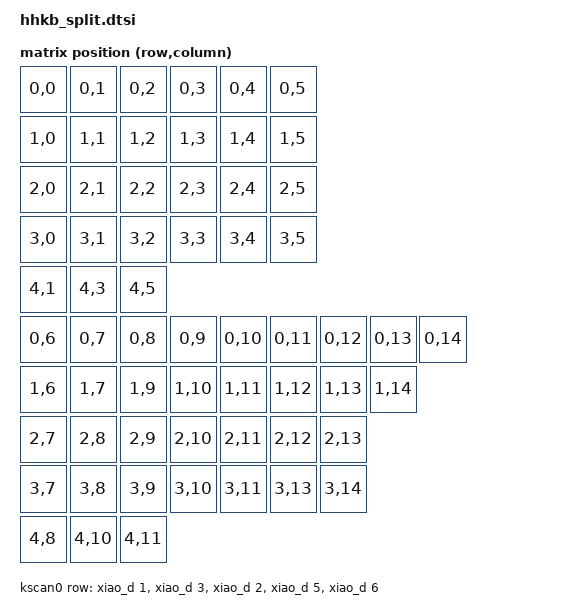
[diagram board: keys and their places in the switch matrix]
/*
 * 左右で共通の土台。
 *
 * キースキャンは「ごく普通の行×列マトリクス＋キーごとにダイオード1個」。
 * 列を駆動するピンが足りないぶんはシフトレジスタ 595（SN74LVC595A）で作る。
 * ZMK 公式が「標準マトリクスでピンが足りない場合の推奨手段」としている方式。
 *   https://zmk.dev/docs/development/hardware-integration/shift-registers
 *
 * 【重要】当初はチャープレックス（zmk,kscan-gpio-charlieplex）で設計していたが、
 * 基板発注前に破棄した。理由は docs/hardware/decisions/2026-08-07-keyscan.md。
 * 要点だけ書くと、nRF52840 の 3.3V ではダイオードの電圧降下だけで
 * ゴースト（2キー同時押しで押していないキーが誤検出される現象）を消せない。
 * 入力の閾値が VDD の 0.7 倍と 0.3 倍なので、
 *   本物のキー（ダイオード1個）を HIGH と読ませるには Vf <= 0.99V
 *   ゴースト（ダイオード2個）を LOW と読ませるには Vf >= 1.155V
 * となり両立しない。乾電池で VDD が下がるとさらに条件が動く。
 * Shift・Ctrl・Fn との同時押しは常用するので、この方式は採れない。
 *
 * ------------------------------------------------------------------
 * ピンの割り当て（XIAO nRF52840、使えるのは D0..D10 の 11 本）
 *
 *   D0        電池電圧の測定（ADC が使えるのは D0..D5 だけなので D0 を使う）
 *   D1        予備。**わざと空けている**（2026-08-14・#41）。D0 と行の間に
 *             1 ピンぶんの隙間を作ると、子基板の奥側が 2.54mm 空き、
 *             分圧抵抗の置き場所になる（利用者の指摘）
 *   D2..D6    行 0..4。MCU に直結した「入力」。**5 本とも左列**
 *   D7        シフトレジスタの CS（ラッチ）
 *   D8        SPI SCK   ─┐ xiao_spi (= spi2) が使う
 *   D9        予備（**元は SPI MISO**。board 定義のまま触らない）
 *   D10       SPI MOSI  ─┘
 *
 * **2026-08-14 に行を D1..D4+D9 から D2..D6 へ移した**（#41）。
 * 以前は ROW4 だけ右列の D9 にあり、MISO を pinctrl から外して GPIO に
 * 転用していた。理由は「左列のレーンが 6 本だとアンテナの真下を 2 本が
 * 通る」（#23）。**その 6 本目は VBATT_SENSE だった。**分圧を子基板へ
 * 移して FFC を渡らなくなったので、行 5 本を左列に戻しても 5 本のまま。
 * → **MISO の上書きが不要になり、削除した**（下の注記）。
 *
 * ZMK の公式サンプルは CS に D9（MISO）を充てているが、xiao_ble の pinctrl は
 * P1.14 を MISO として確保している（zephyr の xiao_ble-pinctrl.dtsi）。
 * 競合を避けるため、こちらは D7 を CS にした。
 *
 * ------------------------------------------------------------------
 * 行と列は物理配列そのまま。5 段 × 左 6 列 / 右 9 列。
 *
 * 右半分の最上段は 9 キーあるので 9 列必要。595 は 8 出力なので
 * **右は 2 個を数珠つなぎ**にする（ngpios = 16、うち 9 本を使う）。
 *
 * 当初は ` 1 つを最下段の空き（row4, col3）へ回して 8 列に収め、595 を
 * 1 個で済ませていた。だが基板を起こしたところ、物理的には最上段にある
 * キーが論理的に最下段になるため、**90mm の配線が 4 段ぶんのスイッチを
 * 横切る**羽目になった。DRC が交差と短絡として検出した。
 * 部品を 1 個（30 円）足す方が、配線の素直さに見合う。
 */
#include <dt-bindings/zmk/matrix_transform.h>

/ {
	chosen {
		zmk,kscan = &kscan0;
		zmk,matrix-transform = &default_transform;
	};

	/*
	 * 左右で「1 つの」transform を共有する。これが ZMK の分割の標準的な書き方で、
	 * 右半分は overlay で col-offset = <6> を足して、この表の右側へ写す。
	 *
	 * 当初は左右で別々の transform を定義していたが、これは非標準で、
	 * 右半分のキー位置がずれる恐れがあった。corne など公式シールドの
	 * 書き方に合わせて作り直した。
	 *
	 * 全体は 5 行 × 15 列。左が列 0..5、右が列 6..14
	 * （下の columns = <15> と、map の RC(0,14) が正）。
	 *
	 * 並び順はキーマップの 61 バインディングと一対一で対応する
	 * （左 27 を上段左から、続いて右 34 を上段左から）。
	 */
	default_transform: keymap_transform_0 {
		compatible = "zmk,matrix-transform";
		columns = <15>;
		rows = <5>;
		map = <
		/* --- 左 27 --- */
		/* Esc 1 2 3 4 5                      */ RC(0,0) RC(0,1) RC(0,2) RC(0,3) RC(0,4) RC(0,5)
		/* Tab Q W E R T                      */ RC(1,0) RC(1,1) RC(1,2) RC(1,3) RC(1,4) RC(1,5)
		/* Ctrl A S D F G                     */ RC(2,0) RC(2,1) RC(2,2) RC(2,3) RC(2,4) RC(2,5)
		/* Shift Z X C V B                    */ RC(3,0) RC(3,1) RC(3,2) RC(3,3) RC(3,4) RC(3,5)
		/* Alt Meta L-Space                   */ RC(4,1) RC(4,3) RC(4,5)

		/* --- 右 34 --- */
		/* 6 7 8 9 0 - = \ `                  */ RC(0,6) RC(0,7) RC(0,8) RC(0,9) RC(0,10) RC(0,11) RC(0,12) RC(0,13) RC(0,14)
		/* Y U I O P [ ] Del                  */ RC(1,6) RC(1,7) RC(1,9) RC(1,10) RC(1,11) RC(1,12) RC(1,13) RC(1,14)
		/* H J K L ; ' Enter                  */ RC(2,7) RC(2,8) RC(2,9) RC(2,10) RC(2,11) RC(2,12) RC(2,13)
		/* N M , . / Shift Fn                 */ RC(3,7) RC(3,8) RC(3,9) RC(3,10) RC(3,11) RC(3,13) RC(3,14)
		/* R-Space Meta Alt                   */ RC(4,8) RC(4,10) RC(4,11)
		>;
	};

	/*
	 * 行は MCU のピンに直結した入力にする。これは公式ドキュメントの指示で、
	 * 「入力を MCU 直結にしておくと割り込みで起こせる ＝ 常時スキャンせずに済み、
	 * 電池が持つ」ため。シフトレジスタは列（出力）側にだけ使う。
	 *
	 * col2row はダイオードのアノードが列側、カソードが行側という意味。
	 */
	kscan0: kscan_0 {
		compatible = "zmk,kscan-gpio-matrix";
		wakeup-source;
		diode-direction = "col2row";
		/*
		 * **並びは行 0..4 の順。ピン番号の順ではない**（2026-08-14・#41）。
		 *
		 *   行 0 → D2 / 行 1 → **D6** / 行 2 → **D3** / 行 3 → **D4** / 行 4 → **D5**
		 *
		 * **並びは利用者の指定**（2026-08-14）「D3 = ROW2 が最も外周側」。
		 * D3/D4/D5 を XIAO のパッド列の外側に通し、パッドから伸びる
		 * 水平線を **D3 が最長・D5 が最短**にする。
		 *
		 *   D3 = ROW2（最も外周）/ D4 = ROW3 / D5 = ROW4 / D6 = ROW1（内側）
		 *
		 * ⚠️ **これは長らく絵に描いた餅だった。**この並び自体は前から
		 * あったが、配線後の基板を実測すると列の外へ出ていたのは 2 本
		 * だけで、ROW3/ROW4 は x=-7.62（パッド）で止まり、内側にいる
		 * はずの ROW0 が外周を取っていた。**自動配線器はこの計画を
		 * 知らない。**`gen_daughterboard._prewire_rows` で自分で引く
		 * ようにして、ようやく実現した（実測 -10.10/-9.70/-9.30・
		 * 交差 0・折れ 3 回）。
		 *
		 * **FFC の並びは動かしていない。**主基板の行バスの都合で決まって
		 * いるので、XIAO 側だけ変えれば主基板は無傷（利用者の指摘）。
		 * 順序のズレは配線でひねらず**ここで吸収する。**
		 *
		 * ⚠️ **circuit.py の XIAO のピン割り当てと 1 対 1 で対応する。**
		 * 片方だけ直すと、押したキーと違う行が読まれる。
		 */
		row-gpios
			= <&xiao_d 1 (GPIO_ACTIVE_HIGH | GPIO_PULL_DOWN)>
			, <&xiao_d 3 (GPIO_ACTIVE_HIGH | GPIO_PULL_DOWN)>
			, <&xiao_d 2 (GPIO_ACTIVE_HIGH | GPIO_PULL_DOWN)>
			, <&xiao_d 5 (GPIO_ACTIVE_HIGH | GPIO_PULL_DOWN)>
			, <&xiao_d 6 (GPIO_ACTIVE_HIGH | GPIO_PULL_DOWN)>
			;
	};
};

/*
 * **`&spi2_default` の上書きは 2026-08-14 に削除した**（open-gaps #41）。
 *
 * ここには「D9（P1.14）を SPI の MISO から解放する」上書きがあった。
 * 行 4 を D9 に置いていたため、pinctrl から MISO を外して GPIO として
 * 使う必要があったから。
 *
 * **行が D2〜D6（左列）へ戻ったので、D9 を GPIO に転用しなくなった。**
 * 分圧を子基板へ移して VBATT_SENSE が FFC を渡らなくなり、左列のレーンが
 * 空いたのが理由（#41）。board 定義の pinctrl をそのまま使えばよい。
 */

/*
 * シフトレジスタ。SPI 経由で列を駆動する。
 * ngpios は 595 の出力本数。**ここの既定は左向けの 8**（左は 6 列なので
 * 1 個で足りる）。**右は overlay で 16 に上書きする**（9 列必要で、
 * 2 個を数珠つなぎ／hhkb_split_right.overlay）。
 */
&xiao_spi {
	status = "okay";
	cs-gpios = <&xiao_d 7 GPIO_ACTIVE_LOW>;

	shifter: 595@0 {
		compatible = "zmk,gpio-595";
		status = "okay";
		gpio-controller;
		/* 200kHz は保守的すぎた。**数珠つなぎの 595 は速い打鍵を
		 * 取りこぼす例が ZMK 公式に報告されている。**
		 * 595（SN74LVC595A）は 3.3V でも 20MHz 級まで動く。4MHz なら
		 * 16bit の転送が 4µs で終わり、スキャン周期に対して無視できる。
		 * Task C2-b で実測して詰める。 */
		spi-max-frequency = <4000000>;
		reg = <0>;
		#gpio-cells = <2>;
		ngpios = <8>;
	};
};

/ {
	/* 電池電圧の測定。分圧 1MΩ + 1MΩ を D0 (P0.02 = AIN0) で読む。
	 *
	 * 回路は tools/circuit.py が唯一の出所。分圧は**スライドスイッチの後ろ・
	 * ショットキーの手前**に置いてあるので、USB 接続中も電池そのものの
	 * 電圧が読める。
	 *
	 * **残量%は乾電池用に差し替えてある**（open-gaps #13）。
	 * ZMK 標準（zmk,battery-voltage-divider）はリチウムイオンの放電曲線で
	 * 3.45V 以下を 0% とするので、乾電池 2 本ではほぼ常に 0% になる。
	 * firmware/drivers/battery_alkaline.c が、下の 2 つの電圧の間での
	 * 残りを % にする。
	 *
	 * **この 2 つの数字の出所は tools/circuit.py だけ。**
	 *   empty = BATT_V_MIN  … この回路が動かなくなる電圧
	 *                         （マイコン・595・マトリクス・ソケットの
	 *                           下限のうち最も厳しいもの ＋ ショットキー Vf）
	 *   full  = BATT_V_MAX  … 新品のアルカリの開路電圧（1.65V × 2）
	 * tools/test_firmware.py が両方を突き合わせ、ずれたら落ちる。
	 */
	/*
	 * ⚠️ **このノードはボード側の vbatt と合体する**（同じパス・同じラベル）。
	 * xiao_ble//zmk の xiao_ble_zmk.dts が
	 *
	 *   vbatt: vbatt {
	 *       io-channels = <&adc 7>;                 ← XIAO 内蔵の分圧
	 *       power-gpios = <&gpio0 14 (OPEN_DRAIN | ACTIVE_LOW)>;
	 *       output-ohms = <510000>; full-ohms = <1510000>;
	 *   };
	 *
	 * を持っており、上書きしない性質は**そのまま残る**。
	 *
	 * **2026-08-11 に発覚: power-gpios を受け継いだままだった。**
	 * P0.14 は **XIAO 内蔵**の分圧（AIN7）を有効にするピンで、こちらは
	 * D0/AIN0 の**外付け** 1MΩ+1MΩ を常時つないでいるので要らない。
	 * それなのに ZMK は電池を測るたびに P0.14 を叩き、**10ms 待って**いた
	 * （driver の「容量が充電されるのを待つ」処理）。60 秒ごとに 10ms、
	 * 使っていない回路のために起きていたことになる。
	 * 残量計を差し替えたときに devicetree の検査が
	 * 「宣言されていない property がある」と言って気づかせてくれた。
	 */
	vbatt: vbatt {
		compatible = "hhkb,battery-alkaline";
		io-channels = <&adc 0>;
		output-ohms = <1000000>;
		full-ohms = <2000000>;
		empty-millivolts = <2400>;
		full-millivolts = <3300>;
		/delete-property/ power-gpios;
	};

	chosen {
		zmk,battery = &vbatt;
	};
};

&adc {
	status = "okay";
};
